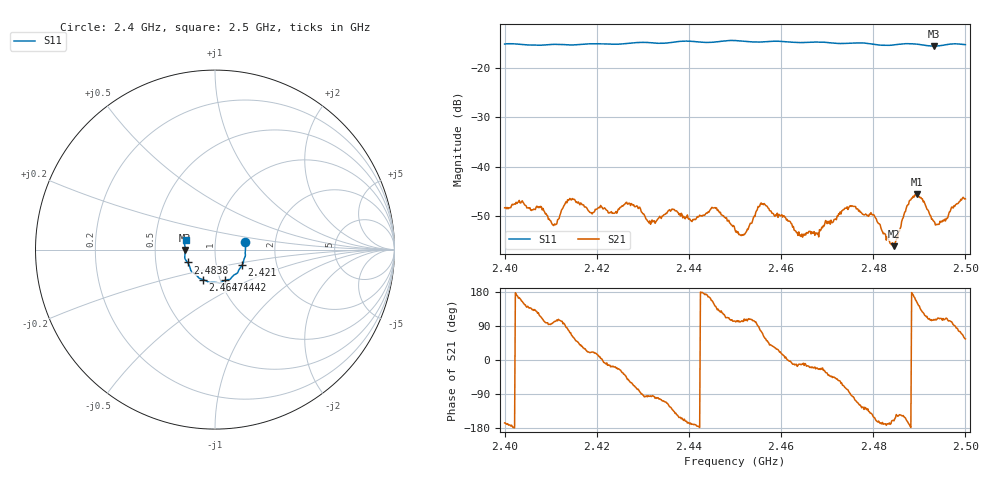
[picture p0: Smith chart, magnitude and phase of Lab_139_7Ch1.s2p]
# Hz S RI R 50
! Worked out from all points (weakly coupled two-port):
!   601 points, 2.4 GHz to 2.5 GHz, reference 50 ohm
!   highest |S21| = -45.57 dB at 2.4895 GHz (marker M1); lowest = -56.1 dB at 2.4845 GHz (marker M2)
!   lowest |S11| = -15.6 dB at 2.4932 GHz (marker M3), VSWR 1.40, Z = 35.8 - j0.0967 ohm
!   |S11| at or under -10 dB: start of sweep to end of sweep
!   S12 and S22 are empty: the file has one direction only
!   S11 on the Smith chart (normalised r, x): 2.4 GHz: 1.40, +0.12; 2.421 GHz: 1.33, -0.24; 2.4442 GHz: 1.05, -0.37; 2.4647 GHz: 0.83, -0.29; 2.4838 GHz: 0.73, -0.11; 2.5 GHz: 0.72, +0.08
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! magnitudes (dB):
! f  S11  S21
! 2.4 GHz  -15.2  -48.3
! 2.4075 GHz  -15.4  -48.1
! 2.4108 GHz  -15.3  -51.6
! 2.4137 GHz  -15.4  -46.7
! 2.4167 GHz  -15.3  -47.5
! 2.421 GHz  -15.2  -48.1
! 2.4333 GHz  -15.1  -50.5
! 2.4442 GHz  -14.9  -49.2
! 2.45 GHz  -14.5  -52.8
! 2.452 GHz  -14.6  -53.8
! 2.456 GHz  -14.8  -47.5
! 2.4647 GHz  -14.9  -54.3
! 2.4667 GHz  -14.8  -53.2
! 2.4755 GHz  -15.0  -48.0
! 2.48 GHz  -15.2  -49.7
! 2.4833 GHz  -15.5  -54.8
! 2.4838 GHz  -15.4  -55.6
! 2.4845 GHz  -15.4  -56.1
! 2.4877 GHz  -15.1  -47.7
! 2.4895 GHz  -15.2  -45.6
! 2.4932 GHz  -15.6  -51.1
! 2.5 GHz  -15.3  -46.5
